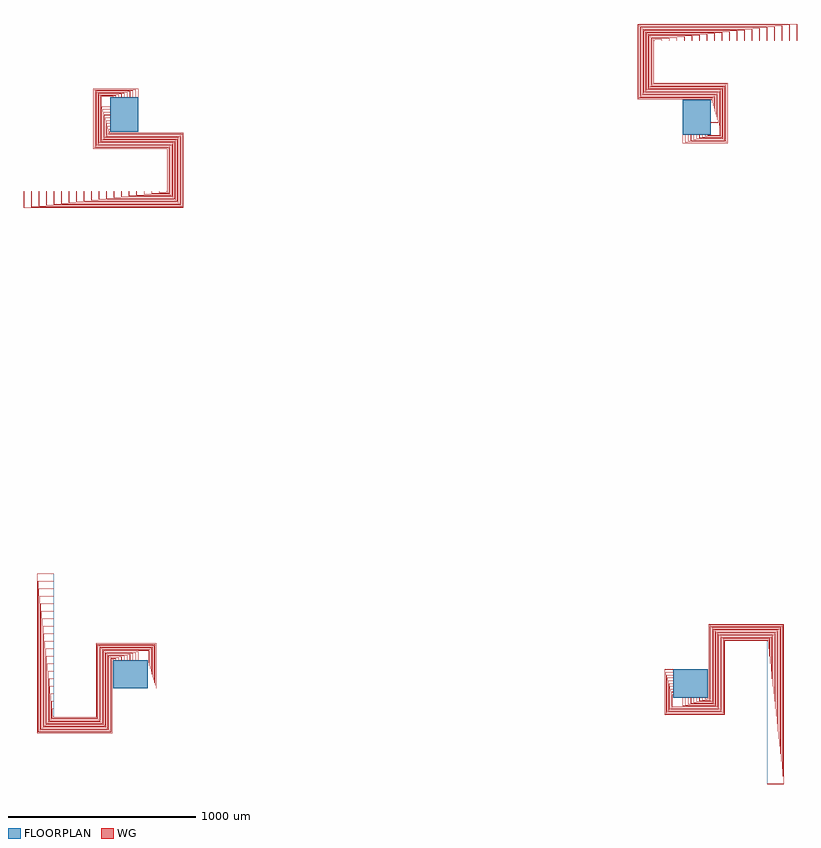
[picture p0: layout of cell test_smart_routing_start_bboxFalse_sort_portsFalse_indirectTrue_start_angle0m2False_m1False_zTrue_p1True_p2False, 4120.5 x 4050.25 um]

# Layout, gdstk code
import gdstk
lib = gdstk.Library(unit=1e-6, precision=1e-09)
def R(c, l, rs):  # rectangles x0, y0, x1, y1
    for r in rs: c.add(gdstk.rectangle(r[:2], r[2:], *l))
def P(c, l, *ps):  # polygons
    for p in ps: c.add(gdstk.Polygon(p, *l))
WG = (1, 0)
FLOORPLAN = (10, 0)

test_smart_routing_start = lib.new_cell('test_smart_routing_start_bboxFalse_sort_portsFalse_indirectTrue_start_angle0m2False_m1False_zTrue_p1True_p2False')
P(test_smart_routing_start, WG, [(2949.75,2855),(2949.75,2900),(2949.95,2900),(2949.95,2855.2),(3189.8,2855.2),(3189.8,3175.05),(2795.55,3175.05),(2795.55,3404.2),(2799.95,3404.2),(2799.95,3400),(2799.75,3400),(2799.75,3404),(2795.75,3404),(2795.75,3175.25),(3190,3175.25),(3190,2855)],
  [(2950.05,2855.3),(2950.05,2900),(2950.25,2900),(2950.25,2855.5),(3189.5,2855.5),(3189.5,3174.75),(2795.25,3174.75),(2795.25,3404.5),(2800.25,3404.5),(2800.25,3400),(2800.05,3400),(2800.05,3404.3),(2795.45,3404.3),(2795.45,3174.95),(3189.7,3174.95),(3189.7,2855.3)],
  [(2964.75,2859.5),(2964.75,2900),(2964.95,2900),(2964.95,2859.7),(3185.3,2859.7),(3185.3,3170.55),(2791.05,3170.55),(2791.05,3408.7),(2839.95,3408.7),(2839.95,3400),(2839.75,3400),(2839.75,3408.5),(2791.25,3408.5),(2791.25,3170.75),(3185.5,3170.75),(3185.5,2859.5)],
  [(2965.05,2859.8),(2965.05,2900),(2965.25,2900),(2965.25,2860),(3185,2860),(3185,3170.25),(2790.75,3170.25),(2790.75,3409),(2840.25,3409),(2840.25,3400),(2840.05,3400),(2840.05,3408.8),(2790.95,3408.8),(2790.95,3170.45),(3185.2,3170.45),(3185.2,2859.8)],
  [(2979.75,2864),(2979.75,2900),(2979.95,2900),(2979.95,2864.2),(3180.8,2864.2),(3180.8,3166.05),(2786.55,3166.05),(2786.55,3413.2),(2879.95,3413.2),(2879.95,3400),(2879.75,3400),(2879.75,3413),(2786.75,3413),(2786.75,3166.25),(3181,3166.25),(3181,2864)],
  [(2980.05,2864.3),(2980.05,2900),(2980.25,2900),(2980.25,2864.5),(3180.5,2864.5),(3180.5,3165.75),(2786.25,3165.75),(2786.25,3413.5),(2880.25,3413.5),(2880.25,3400),(2880.05,3400),(2880.05,3413.3),(2786.45,3413.3),(2786.45,3165.95),(3180.7,3165.95),(3180.7,2864.3)],
  [(2994.75,2868.5),(2994.75,2900),(2994.95,2900),(2994.95,2868.7),(3176.3,2868.7),(3176.3,3161.55),(2782.05,3161.55),(2782.05,3417.7),(2919.95,3417.7),(2919.95,3400),(2919.75,3400),(2919.75,3417.5),(2782.25,3417.5),(2782.25,3161.75),(3176.5,3161.75),(3176.5,2868.5)],
  [(2995.05,2868.8),(2995.05,2900),(2995.25,2900),(2995.25,2869),(3176,2869),(3176,3161.25),(2781.75,3161.25),(2781.75,3418),(2920.25,3418),(2920.25,3400),(2920.05,3400),(2920.05,3417.8),(2781.95,3417.8),(2781.95,3161.45),(3176.2,3161.45),(3176.2,2868.8)],
  [(3009.75,2873),(3009.75,2900),(3009.95,2900),(3009.95,2873.2),(3171.8,2873.2),(3171.8,3157.05),(2777.55,3157.05),(2777.55,3422.2),(2959.95,3422.2),(2959.95,3400),(2959.75,3400),(2959.75,3422),(2777.75,3422),(2777.75,3157.25),(3172,3157.25),(3172,2873)],
  [(3010.05,2873.3),(3010.05,2900),(3010.25,2900),(3010.25,2873.5),(3171.5,2873.5),(3171.5,3156.75),(2777.25,3156.75),(2777.25,3422.5),(2960.25,3422.5),(2960.25,3400),(2960.05,3400),(2960.05,3422.3),(2777.45,3422.3),(2777.45,3156.95),(3171.7,3156.95),(3171.7,2873.3)],
  [(3024.75,2877.5),(3024.75,2900),(3024.95,2900),(3024.95,2877.7),(3167.3,2877.7),(3167.3,3152.55),(2773.05,3152.55),(2773.05,3426.7),(2999.95,3426.7),(2999.95,3400),(2999.75,3400),(2999.75,3426.5),(2773.25,3426.5),(2773.25,3152.75),(3167.5,3152.75),(3167.5,2877.5)],
  [(3025.05,2877.8),(3025.05,2900),(3025.25,2900),(3025.25,2878),(3167,2878),(3167,3152.25),(2772.75,3152.25),(2772.75,3427),(3000.25,3427),(3000.25,3400),(3000.05,3400),(3000.05,3426.8),(2772.95,3426.8),(2772.95,3152.45),(3167.2,3152.45),(3167.2,2877.8)],
  [(3039.75,2882),(3039.75,2900),(3039.95,2900),(3039.95,2882.2),(3162.8,2882.2),(3162.8,3148.05),(2768.55,3148.05),(2768.55,3431.2),(3039.95,3431.2),(3039.95,3400),(3039.75,3400),(3039.75,3431),(2768.75,3431),(2768.75,3148.25),(3163,3148.25),(3163,2882)],
  [(3040.05,2882.3),(3040.05,2900),(3040.25,2900),(3040.25,2882.5),(3162.5,2882.5),(3162.5,3147.75),(2768.25,3147.75),(2768.25,3431.5),(3040.25,3431.5),(3040.25,3400),(3040.05,3400),(3040.05,3431.3),(2768.45,3431.3),(2768.45,3147.95),(3162.7,3147.95),(3162.7,2882.3)],
  [(3054.75,2886.5),(3054.75,2900),(3054.95,2900),(3054.95,2886.7),(3158.3,2886.7),(3158.3,3143.55),(2764.05,3143.55),(2764.05,3435.7),(3079.95,3435.7),(3079.95,3400),(3079.75,3400),(3079.75,3435.5),(2764.25,3435.5),(2764.25,3143.75),(3158.5,3143.75),(3158.5,2886.5)],
  [(3055.05,2886.8),(3055.05,2900),(3055.25,2900),(3055.25,2887),(3158,2887),(3158,3143.25),(2763.75,3143.25),(2763.75,3436),(3080.25,3436),(3080.25,3400),(3080.05,3400),(3080.05,3435.8),(2763.95,3435.8),(2763.95,3143.45),(3158.2,3143.45),(3158.2,2886.8)],
  [(3069.75,2891),(3069.75,2900),(3069.95,2900),(3069.95,2891.2),(3153.8,2891.2),(3153.8,3139.05),(2759.55,3139.05),(2759.55,3440.2),(3119.95,3440.2),(3119.95,3400),(3119.75,3400),(3119.75,3440),(2759.75,3440),(2759.75,3139.25),(3154,3139.25),(3154,2891)],
  [(3070.05,2891.3),(3070.05,2900),(3070.25,2900),(3070.25,2891.5),(3153.5,2891.5),(3153.5,3138.75),(2759.25,3138.75),(2759.25,3440.5),(3120.25,3440.5),(3120.25,3400),(3120.05,3400),(3120.05,3440.3),(2759.45,3440.3),(2759.45,3138.95),(3153.7,3138.95),(3153.7,2891.3)],
  [(3084.75,2895.5),(3084.75,2900),(3084.95,2900),(3084.95,2895.7),(3149.3,2895.7),(3149.3,3134.55),(2755.05,3134.55),(2755.05,3444.7),(3159.95,3444.7),(3159.95,3400),(3159.75,3400),(3159.75,3444.5),(2755.25,3444.5),(2755.25,3134.75),(3149.5,3134.75),(3149.5,2895.5)],
  [(3085.05,2895.8),(3085.05,2900),(3085.25,2900),(3085.25,2896),(3149,2896),(3149,3134.25),(2754.75,3134.25),(2754.75,3445),(3160.25,3445),(3160.25,3400),(3160.05,3400),(3160.05,3444.8),(2754.95,3444.8),(2754.95,3134.45),(3149.2,3134.45),(3149.2,2895.8)],
  [(3100,2949.75),(3100,2949.95),(3144.8,2949.95),(3144.8,3130.05),(2750.55,3130.05),(2750.55,3449.2),(3199.95,3449.2),(3199.95,3400),(3199.75,3400),(3199.75,3449),(2750.75,3449),(2750.75,3130.25),(3145,3130.25),(3145,2949.75)],
  [(3100,2950.05),(3100,2950.25),(3144.5,2950.25),(3144.5,3129.75),(2750.25,3129.75),(2750.25,3449.5),(3200.25,3449.5),(3200.25,3400),(3200.05,3400),(3200.05,3449.3),(2750.45,3449.3),(2750.45,3129.95),(3144.7,3129.95),(3144.7,2950.05)],
  [(3100,2964.75),(3100,2964.95),(3140.3,2964.95),(3140.3,3125.55),(2746.05,3125.55),(2746.05,3453.7),(3239.95,3453.7),(3239.95,3400),(3239.75,3400),(3239.75,3453.5),(2746.25,3453.5),(2746.25,3125.75),(3140.5,3125.75),(3140.5,2964.75)],
  [(3100,2965.05),(3100,2965.25),(3140,2965.25),(3140,3125.25),(2745.75,3125.25),(2745.75,3454),(3240.25,3454),(3240.25,3400),(3240.05,3400),(3240.05,3453.8),(2745.95,3453.8),(2745.95,3125.45),(3140.2,3125.45),(3140.2,2965.05)],
  [(3100,2979.75),(3100,2979.95),(3135.8,2979.95),(3135.8,3121.05),(2741.55,3121.05),(2741.55,3458.2),(3279.95,3458.2),(3279.95,3400),(3279.75,3400),(3279.75,3458),(2741.75,3458),(2741.75,3121.25),(3136,3121.25),(3136,2979.75)],
  [(3100,2980.05),(3100,2980.25),(3135.5,2980.25),(3135.5,3120.75),(2741.25,3120.75),(2741.25,3458.5),(3280.25,3458.5),(3280.25,3400),(3280.05,3400),(3280.05,3458.3),(2741.45,3458.3),(2741.45,3120.95),(3135.7,3120.95),(3135.7,2980.05)],
  [(3100,2994.75),(3100,2994.95),(3131.3,2994.95),(3131.3,3116.55),(2737.05,3116.55),(2737.05,3462.7),(3319.95,3462.7),(3319.95,3400),(3319.75,3400),(3319.75,3462.5),(2737.25,3462.5),(2737.25,3116.75),(3131.5,3116.75),(3131.5,2994.75)],
  [(3100,2995.05),(3100,2995.25),(3131,2995.25),(3131,3116.25),(2736.75,3116.25),(2736.75,3463),(3320.25,3463),(3320.25,3400),(3320.05,3400),(3320.05,3462.8),(2736.95,3462.8),(2736.95,3116.45),(3131.2,3116.45),(3131.2,2995.05)],
  [(3100,3009.75),(3100,3009.95),(3126.8,3009.95),(3126.8,3112.05),(2732.55,3112.05),(2732.55,3467.2),(3359.95,3467.2),(3359.95,3400),(3359.75,3400),(3359.75,3467),(2732.75,3467),(2732.75,3112.25),(3127,3112.25),(3127,3009.75)],
  [(3100,3010.05),(3100,3010.25),(3126.5,3010.25),(3126.5,3111.75),(2732.25,3111.75),(2732.25,3467.5),(3360.25,3467.5),(3360.25,3400),(3360.05,3400),(3360.05,3467.3),(2732.45,3467.3),(2732.45,3111.95),(3126.7,3111.95),(3126.7,3010.05)],
  [(3100,3024.75),(3100,3024.95),(3122.3,3024.95),(3122.3,3107.55),(2728.05,3107.55),(2728.05,3471.7),(3399.95,3471.7),(3399.95,3400),(3399.75,3400),(3399.75,3471.5),(2728.25,3471.5),(2728.25,3107.75),(3122.5,3107.75),(3122.5,3024.75)],
  [(3100,3025.05),(3100,3025.25),(3122,3025.25),(3122,3107.25),(2727.75,3107.25),(2727.75,3472),(3400.25,3472),(3400.25,3400),(3400.05,3400),(3400.05,3471.8),(2727.95,3471.8),(2727.95,3107.45),(3122.2,3107.45),(3122.2,3025.05)],
  [(3100,3039.75),(3100,3039.95),(3117.8,3039.95),(3117.8,3103.05),(2723.55,3103.05),(2723.55,3476.2),(3439.95,3476.2),(3439.95,3400),(3439.75,3400),(3439.75,3476),(2723.75,3476),(2723.75,3103.25),(3118,3103.25),(3118,3039.75)],
  [(3100,3040.05),(3100,3040.25),(3117.5,3040.25),(3117.5,3102.75),(2723.25,3102.75),(2723.25,3476.5),(3440.25,3476.5),(3440.25,3400),(3440.05,3400),(3440.05,3476.3),(2723.45,3476.3),(2723.45,3102.95),(3117.7,3102.95),(3117.7,3040.05)],
  [(3100,3054.75),(3100,3054.95),(3113.3,3054.95),(3113.3,3098.55),(2719.05,3098.55),(2719.05,3480.7),(3479.95,3480.7),(3479.95,3400),(3479.75,3400),(3479.75,3480.5),(2719.25,3480.5),(2719.25,3098.75),(3113.5,3098.75),(3113.5,3054.75)],
  [(3100,3055.05),(3100,3055.25),(3113,3055.25),(3113,3098.25),(2718.75,3098.25),(2718.75,3481),(3480.25,3481),(3480.25,3400),(3480.05,3400),(3480.05,3480.8),(2718.95,3480.8),(2718.95,3098.45),(3113.2,3098.45),(3113.2,3055.05)],
  [(3100,3069.75),(3100,3069.95),(3108.8,3069.95),(3108.8,3094.05),(2714.55,3094.05),(2714.55,3485.2),(3519.95,3485.2),(3519.95,3400),(3519.75,3400),(3519.75,3485),(2714.75,3485),(2714.75,3094.25),(3109,3094.25),(3109,3069.75)],
  [(3100,3070.05),(3100,3070.25),(3108.5,3070.25),(3108.5,3093.75),(2714.25,3093.75),(2714.25,3485.5),(3520.25,3485.5),(3520.25,3400),(3520.05,3400),(3520.05,3485.3),(2714.45,3485.3),(2714.45,3093.95),(3108.7,3093.95),(3108.7,3070.05)],
  [(3100,3084.75),(3100,3084.95),(3104.3,3084.95),(3104.3,3089.55),(2710.05,3089.55),(2710.05,3489.7),(3559.95,3489.7),(3559.95,3400),(3559.75,3400),(3559.75,3489.5),(2710.25,3489.5),(2710.25,3089.75),(3104.5,3089.75),(3104.5,3084.75)],
  [(3100,3085.05),(3100,3085.25),(3104,3085.25),(3104,3089.25),(2709.75,3089.25),(2709.75,3490),(3560.25,3490),(3560.25,3400),(3560.05,3400),(3560.05,3489.8),(2709.95,3489.8),(2709.95,3089.45),(3104.2,3089.45),(3104.2,3085.05)],
  [(199.75,2595.5),(199.75,2600),(199.95,2600),(199.95,2595.7),(204.55,2595.7),(204.55,2825.05),(-189.7,2825.05),(-189.7,3144.7),(49.95,3144.7),(49.95,3100),(49.75,3100),(49.75,3144.5),(-189.5,3144.5),(-189.5,2825.25),(204.75,2825.25),(204.75,2595.5)],
  [(200.05,2595.8),(200.05,2600),(200.25,2600),(200.25,2596),(204.25,2596),(204.25,2824.75),(-190,2824.75),(-190,3145),(50.25,3145),(50.25,3100),(50.05,3100),(50.05,3144.8),(-189.8,3144.8),(-189.8,2824.95),(204.45,2824.95),(204.45,2595.8)],
  [(159.75,2591),(159.75,2600),(159.95,2600),(159.95,2591.2),(209.05,2591.2),(209.05,2829.55),(-185.2,2829.55),(-185.2,3140.2),(34.95,3140.2),(34.95,3100),(34.75,3100),(34.75,3140),(-185,3140),(-185,2829.75),(209.25,2829.75),(209.25,2591)],
  [(160.05,2591.3),(160.05,2600),(160.25,2600),(160.25,2591.5),(208.75,2591.5),(208.75,2829.25),(-185.5,2829.25),(-185.5,3140.5),(35.25,3140.5),(35.25,3100),(35.05,3100),(35.05,3140.3),(-185.3,3140.3),(-185.3,2829.45),(208.95,2829.45),(208.95,2591.3)],
  [(119.75,2586.5),(119.75,2600),(119.95,2600),(119.95,2586.7),(213.55,2586.7),(213.55,2834.05),(-180.7,2834.05),(-180.7,3135.7),(19.95,3135.7),(19.95,3100),(19.75,3100),(19.75,3135.5),(-180.5,3135.5),(-180.5,2834.25),(213.75,2834.25),(213.75,2586.5)],
  [(120.05,2586.8),(120.05,2600),(120.25,2600),(120.25,2587),(213.25,2587),(213.25,2833.75),(-181,2833.75),(-181,3136),(20.25,3136),(20.25,3100),(20.05,3100),(20.05,3135.8),(-180.8,3135.8),(-180.8,2833.95),(213.45,2833.95),(213.45,2586.8)],
  [(79.75,2582),(79.75,2600),(79.95,2600),(79.95,2582.2),(218.05,2582.2),(218.05,2838.55),(-176.2,2838.55),(-176.2,3131.2),(4.95,3131.2),(4.95,3100),(4.75,3100),(4.75,3131),(-176,3131),(-176,2838.75),(218.25,2838.75),(218.25,2582)],
  [(80.05,2582.3),(80.05,2600),(80.25,2600),(80.25,2582.5),(217.75,2582.5),(217.75,2838.25),(-176.5,2838.25),(-176.5,3131.5),(5.25,3131.5),(5.25,3100),(5.05,3100),(5.05,3131.3),(-176.3,3131.3),(-176.3,2838.45),(217.95,2838.45),(217.95,2582.3)],
  [(39.75,2577.5),(39.75,2600),(39.95,2600),(39.95,2577.7),(222.55,2577.7),(222.55,2843.05),(-171.7,2843.05),(-171.7,3126.7),(-10.05,3126.7),(-10.05,3100),(-10.25,3100),(-10.25,3126.5),(-171.5,3126.5),(-171.5,2843.25),(222.75,2843.25),(222.75,2577.5)],
  [(40.05,2577.8),(40.05,2600),(40.25,2600),(40.25,2578),(222.25,2578),(222.25,2842.75),(-172,2842.75),(-172,3127),(-9.75,3127),(-9.75,3100),(-9.95,3100),(-9.95,3126.8),(-171.8,3126.8),(-171.8,2842.95),(222.45,2842.95),(222.45,2577.8)],
  [(-0.25,2573),(-0.25,2600),(-0.05,2600),(-0.05,2573.2),(227.05,2573.2),(227.05,2847.55),(-167.2,2847.55),(-167.2,3122.2),(-25.05,3122.2),(-25.05,3100),(-25.25,3100),(-25.25,3122),(-167,3122),(-167,2847.75),(227.25,2847.75),(227.25,2573)],
  [(0.05,2573.3),(0.05,2600),(0.25,2600),(0.25,2573.5),(226.75,2573.5),(226.75,2847.25),(-167.5,2847.25),(-167.5,3122.5),(-24.75,3122.5),(-24.75,3100),(-24.95,3100),(-24.95,3122.3),(-167.3,3122.3),(-167.3,2847.45),(226.95,2847.45),(226.95,2573.3)],
  [(-40.25,2568.5),(-40.25,2600),(-40.05,2600),(-40.05,2568.7),(231.55,2568.7),(231.55,2852.05),(-162.7,2852.05),(-162.7,3117.7),(-40.05,3117.7),(-40.05,3100),(-40.25,3100),(-40.25,3117.5),(-162.5,3117.5),(-162.5,2852.25),(231.75,2852.25),(231.75,2568.5)],
  [(-39.95,2568.8),(-39.95,2600),(-39.75,2600),(-39.75,2569),(231.25,2569),(231.25,2851.75),(-163,2851.75),(-163,3118),(-39.75,3118),(-39.75,3100),(-39.95,3100),(-39.95,3117.8),(-162.8,3117.8),(-162.8,2851.95),(231.45,2851.95),(231.45,2568.8)],
  [(-80.25,2564),(-80.25,2600),(-80.05,2600),(-80.05,2564.2),(236.05,2564.2),(236.05,2856.55),(-158.2,2856.55),(-158.2,3113.2),(-55.05,3113.2),(-55.05,3100),(-55.25,3100),(-55.25,3113),(-158,3113),(-158,2856.75),(236.25,2856.75),(236.25,2564)],
  [(-79.95,2564.3),(-79.95,2600),(-79.75,2600),(-79.75,2564.5),(235.75,2564.5),(235.75,2856.25),(-158.5,2856.25),(-158.5,3113.5),(-54.75,3113.5),(-54.75,3100),(-54.95,3100),(-54.95,3113.3),(-158.3,3113.3),(-158.3,2856.45),(235.95,2856.45),(235.95,2564.3)],
  [(-120.25,2559.5),(-120.25,2600),(-120.05,2600),(-120.05,2559.7),(240.55,2559.7),(240.55,2861.05),(-153.7,2861.05),(-153.7,3108.7),(-70.05,3108.7),(-70.05,3100),(-70.25,3100),(-70.25,3108.5),(-153.5,3108.5),(-153.5,2861.25),(240.75,2861.25),(240.75,2559.5)],
  [(-119.95,2559.8),(-119.95,2600),(-119.75,2600),(-119.75,2560),(240.25,2560),(240.25,2860.75),(-154,2860.75),(-154,3109),(-69.75,3109),(-69.75,3100),(-69.95,3100),(-69.95,3108.8),(-153.8,3108.8),(-153.8,2860.95),(240.45,2860.95),(240.45,2559.8)],
  [(-160.25,2555),(-160.25,2600),(-160.05,2600),(-160.05,2555.2),(245.05,2555.2),(245.05,2865.55),(-149.2,2865.55),(-149.2,3104.2),(-85.05,3104.2),(-85.05,3100),(-85.25,3100),(-85.25,3104),(-149,3104),(-149,2865.75),(245.25,2865.75),(245.25,2555)],
  [(-159.95,2555.3),(-159.95,2600),(-159.75,2600),(-159.75,2555.5),(244.75,2555.5),(244.75,2865.25),(-149.5,2865.25),(-149.5,3104.5),(-84.75,3104.5),(-84.75,3100),(-84.95,3100),(-84.95,3104.3),(-149.3,3104.3),(-149.3,2865.45),(244.95,2865.45),(244.95,2555.3)],
  [(-200.25,2550.5),(-200.25,2600),(-200.05,2600),(-200.05,2550.7),(249.55,2550.7),(249.55,2870.05),(-144.7,2870.05),(-144.7,3049.95),(-100,3049.95),(-100,3049.75),(-144.5,3049.75),(-144.5,2870.25),(249.75,2870.25),(249.75,2550.5)],
  [(-199.95,2550.8),(-199.95,2600),(-199.75,2600),(-199.75,2551),(249.25,2551),(249.25,2869.75),(-145,2869.75),(-145,3050.25),(-100,3050.25),(-100,3050.05),(-144.8,3050.05),(-144.8,2869.95),(249.45,2869.95),(249.45,2550.8)],
  [(-240.25,2546),(-240.25,2600),(-240.05,2600),(-240.05,2546.2),(254.05,2546.2),(254.05,2874.55),(-140.2,2874.55),(-140.2,3034.95),(-100,3034.95),(-100,3034.75),(-140,3034.75),(-140,2874.75),(254.25,2874.75),(254.25,2546)],
  [(-239.95,2546.3),(-239.95,2600),(-239.75,2600),(-239.75,2546.5),(253.75,2546.5),(253.75,2874.25),(-140.5,2874.25),(-140.5,3035.25),(-100,3035.25),(-100,3035.05),(-140.3,3035.05),(-140.3,2874.45),(253.95,2874.45),(253.95,2546.3)],
  [(-280.25,2541.5),(-280.25,2600),(-280.05,2600),(-280.05,2541.7),(258.55,2541.7),(258.55,2879.05),(-135.7,2879.05),(-135.7,3019.95),(-100,3019.95),(-100,3019.75),(-135.5,3019.75),(-135.5,2879.25),(258.75,2879.25),(258.75,2541.5)],
  [(-279.95,2541.8),(-279.95,2600),(-279.75,2600),(-279.75,2542),(258.25,2542),(258.25,2878.75),(-136,2878.75),(-136,3020.25),(-100,3020.25),(-100,3020.05),(-135.8,3020.05),(-135.8,2878.95),(258.45,2878.95),(258.45,2541.8)],
  [(-320.25,2537),(-320.25,2600),(-320.05,2600),(-320.05,2537.2),(263.05,2537.2),(263.05,2883.55),(-131.2,2883.55),(-131.2,3004.95),(-100,3004.95),(-100,3004.75),(-131,3004.75),(-131,2883.75),(263.25,2883.75),(263.25,2537)],
  [(-319.95,2537.3),(-319.95,2600),(-319.75,2600),(-319.75,2537.5),(262.75,2537.5),(262.75,2883.25),(-131.5,2883.25),(-131.5,3005.25),(-100,3005.25),(-100,3005.05),(-131.3,3005.05),(-131.3,2883.45),(262.95,2883.45),(262.95,2537.3)],
  [(-360.25,2532.5),(-360.25,2600),(-360.05,2600),(-360.05,2532.7),(267.55,2532.7),(267.55,2888.05),(-126.7,2888.05),(-126.7,2989.95),(-100,2989.95),(-100,2989.75),(-126.5,2989.75),(-126.5,2888.25),(267.75,2888.25),(267.75,2532.5)],
  [(-359.95,2532.8),(-359.95,2600),(-359.75,2600),(-359.75,2533),(267.25,2533),(267.25,2887.75),(-127,2887.75),(-127,2990.25),(-100,2990.25),(-100,2990.05),(-126.8,2990.05),(-126.8,2887.95),(267.45,2887.95),(267.45,2532.8)],
  [(-400.25,2528),(-400.25,2600),(-400.05,2600),(-400.05,2528.2),(272.05,2528.2),(272.05,2892.55),(-122.2,2892.55),(-122.2,2974.95),(-100,2974.95),(-100,2974.75),(-122,2974.75),(-122,2892.75),(272.25,2892.75),(272.25,2528)],
  [(-399.95,2528.3),(-399.95,2600),(-399.75,2600),(-399.75,2528.5),(271.75,2528.5),(271.75,2892.25),(-122.5,2892.25),(-122.5,2975.25),(-100,2975.25),(-100,2975.05),(-122.3,2975.05),(-122.3,2892.45),(271.95,2892.45),(271.95,2528.3)],
  [(-440.25,2523.5),(-440.25,2600),(-440.05,2600),(-440.05,2523.7),(276.55,2523.7),(276.55,2897.05),(-117.7,2897.05),(-117.7,2959.95),(-100,2959.95),(-100,2959.75),(-117.5,2959.75),(-117.5,2897.25),(276.75,2897.25),(276.75,2523.5)],
  [(-439.95,2523.8),(-439.95,2600),(-439.75,2600),(-439.75,2524),(276.25,2524),(276.25,2896.75),(-118,2896.75),(-118,2960.25),(-100,2960.25),(-100,2960.05),(-117.8,2960.05),(-117.8,2896.95),(276.45,2896.95),(276.45,2523.8)],
  [(-480.25,2519),(-480.25,2600),(-480.05,2600),(-480.05,2519.2),(281.05,2519.2),(281.05,2901.55),(-113.2,2901.55),(-113.2,2944.95),(-100,2944.95),(-100,2944.75),(-113,2944.75),(-113,2901.75),(281.25,2901.75),(281.25,2519)],
  [(-479.95,2519.3),(-479.95,2600),(-479.75,2600),(-479.75,2519.5),(280.75,2519.5),(280.75,2901.25),(-113.5,2901.25),(-113.5,2945.25),(-100,2945.25),(-100,2945.05),(-113.3,2945.05),(-113.3,2901.45),(280.95,2901.45),(280.95,2519.3)],
  [(-520.25,2514.5),(-520.25,2600),(-520.05,2600),(-520.05,2514.7),(285.55,2514.7),(285.55,2906.05),(-108.7,2906.05),(-108.7,2929.95),(-100,2929.95),(-100,2929.75),(-108.5,2929.75),(-108.5,2906.25),(285.75,2906.25),(285.75,2514.5)],
  [(-519.95,2514.8),(-519.95,2600),(-519.75,2600),(-519.75,2515),(285.25,2515),(285.25,2905.75),(-109,2905.75),(-109,2930.25),(-100,2930.25),(-100,2930.05),(-108.8,2930.05),(-108.8,2905.95),(285.45,2905.95),(285.45,2514.8)],
  [(-560.25,2510),(-560.25,2600),(-560.05,2600),(-560.05,2510.2),(290.05,2510.2),(290.05,2910.55),(-104.2,2910.55),(-104.2,2914.95),(-100,2914.95),(-100,2914.75),(-104,2914.75),(-104,2910.75),(290.25,2910.75),(290.25,2510)],
  [(-559.95,2510.3),(-559.95,2600),(-559.75,2600),(-559.75,2510.5),(289.75,2510.5),(289.75,2910.25),(-104.5,2910.25),(-104.5,2915.25),(-100,2915.25),(-100,2915.05),(-104.3,2915.05),(-104.3,2910.45),(289.95,2910.45),(289.95,2510.3)],
  [(-404.5,-204.75),(-404.5,-199.75),(-400,-199.75),(-400,-199.95),(-404.3,-199.95),(-404.3,-204.55),(-174.95,-204.55),(-174.95,189.7),(144.7,189.7),(144.7,-49.95),(100,-49.95),(100,-49.75),(144.5,-49.75),(144.5,189.5),(-174.75,189.5),(-174.75,-204.75)],
  [(-404.2,-204.45),(-404.2,-200.05),(-400,-200.05),(-400,-200.25),(-404,-200.25),(-404,-204.25),(-175.25,-204.25),(-175.25,190),(145,190),(145,-50.25),(100,-50.25),(100,-50.05),(144.8,-50.05),(144.8,189.8),(-175.05,189.8),(-175.05,-204.45)],
  [(-409,-209.25),(-409,-159.75),(-400,-159.75),(-400,-159.95),(-408.8,-159.95),(-408.8,-209.05),(-170.45,-209.05),(-170.45,185.2),(140.2,185.2),(140.2,-34.95),(100,-34.95),(100,-34.75),(140,-34.75),(140,185),(-170.25,185),(-170.25,-209.25)],
  [(-408.7,-208.95),(-408.7,-160.05),(-400,-160.05),(-400,-160.25),(-408.5,-160.25),(-408.5,-208.75),(-170.75,-208.75),(-170.75,185.5),(140.5,185.5),(140.5,-35.25),(100,-35.25),(100,-35.05),(140.3,-35.05),(140.3,185.3),(-170.55,185.3),(-170.55,-208.95)],
  [(-413.5,-213.75),(-413.5,-119.75),(-400,-119.75),(-400,-119.95),(-413.3,-119.95),(-413.3,-213.55),(-165.95,-213.55),(-165.95,180.7),(135.7,180.7),(135.7,-19.95),(100,-19.95),(100,-19.75),(135.5,-19.75),(135.5,180.5),(-165.75,180.5),(-165.75,-213.75)],
  [(-413.2,-213.45),(-413.2,-120.05),(-400,-120.05),(-400,-120.25),(-413,-120.25),(-413,-213.25),(-166.25,-213.25),(-166.25,181),(136,181),(136,-20.25),(100,-20.25),(100,-20.05),(135.8,-20.05),(135.8,180.8),(-166.05,180.8),(-166.05,-213.45)],
  [(-418,-218.25),(-418,-79.75),(-400,-79.75),(-400,-79.95),(-417.8,-79.95),(-417.8,-218.05),(-161.45,-218.05),(-161.45,176.2),(131.2,176.2),(131.2,-4.95),(100,-4.95),(100,-4.75),(131,-4.75),(131,176),(-161.25,176),(-161.25,-218.25)],
  [(-417.7,-217.95),(-417.7,-80.05),(-400,-80.05),(-400,-80.25),(-417.5,-80.25),(-417.5,-217.75),(-161.75,-217.75),(-161.75,176.5),(131.5,176.5),(131.5,-5.25),(100,-5.25),(100,-5.05),(131.3,-5.05),(131.3,176.3),(-161.55,176.3),(-161.55,-217.95)],
  [(-422.5,-222.75),(-422.5,-39.75),(-400,-39.75),(-400,-39.95),(-422.3,-39.95),(-422.3,-222.55),(-156.95,-222.55),(-156.95,171.7),(126.7,171.7),(126.7,10.05),(100,10.05),(100,10.25),(126.5,10.25),(126.5,171.5),(-156.75,171.5),(-156.75,-222.75)],
  [(-422.2,-222.45),(-422.2,-40.05),(-400,-40.05),(-400,-40.25),(-422,-40.25),(-422,-222.25),(-157.25,-222.25),(-157.25,172),(127,172),(127,9.75),(100,9.75),(100,9.95),(126.8,9.95),(126.8,171.8),(-157.05,171.8),(-157.05,-222.45)],
  [(-427,-227.25),(-427,0.25),(-400,0.25),(-400,0.05),(-426.8,0.05),(-426.8,-227.05),(-152.45,-227.05),(-152.45,167.2),(122.2,167.2),(122.2,25.05),(100,25.05),(100,25.25),(122,25.25),(122,167),(-152.25,167),(-152.25,-227.25)],
  [(-426.7,-226.95),(-426.7,-0.05),(-400,-0.05),(-400,-0.25),(-426.5,-0.25),(-426.5,-226.75),(-152.75,-226.75),(-152.75,167.5),(122.5,167.5),(122.5,24.75),(100,24.75),(100,24.95),(122.3,24.95),(122.3,167.3),(-152.55,167.3),(-152.55,-226.95)],
  [(-431.5,-231.75),(-431.5,40.25),(-400,40.25),(-400,40.05),(-431.3,40.05),(-431.3,-231.55),(-147.95,-231.55),(-147.95,162.7),(117.7,162.7),(117.7,40.05),(100,40.05),(100,40.25),(117.5,40.25),(117.5,162.5),(-147.75,162.5),(-147.75,-231.75)],
  [(-431.2,-231.45),(-431.2,39.95),(-400,39.95),(-400,39.75),(-431,39.75),(-431,-231.25),(-148.25,-231.25),(-148.25,163),(118,163),(118,39.75),(100,39.75),(100,39.95),(117.8,39.95),(117.8,162.8),(-148.05,162.8),(-148.05,-231.45)],
  [(-436,-236.25),(-436,80.25),(-400,80.25),(-400,80.05),(-435.8,80.05),(-435.8,-236.05),(-143.45,-236.05),(-143.45,158.2),(113.2,158.2),(113.2,55.05),(100,55.05),(100,55.25),(113,55.25),(113,158),(-143.25,158),(-143.25,-236.25)],
  [(-435.7,-235.95),(-435.7,79.95),(-400,79.95),(-400,79.75),(-435.5,79.75),(-435.5,-235.75),(-143.75,-235.75),(-143.75,158.5),(113.5,158.5),(113.5,54.75),(100,54.75),(100,54.95),(113.3,54.95),(113.3,158.3),(-143.55,158.3),(-143.55,-235.95)],
  [(-440.5,-240.75),(-440.5,120.25),(-400,120.25),(-400,120.05),(-440.3,120.05),(-440.3,-240.55),(-138.95,-240.55),(-138.95,153.7),(108.7,153.7),(108.7,70.05),(100,70.05),(100,70.25),(108.5,70.25),(108.5,153.5),(-138.75,153.5),(-138.75,-240.75)],
  [(-440.2,-240.45),(-440.2,119.95),(-400,119.95),(-400,119.75),(-440,119.75),(-440,-240.25),(-139.25,-240.25),(-139.25,154),(109,154),(109,69.75),(100,69.75),(100,69.95),(108.8,69.95),(108.8,153.8),(-139.05,153.8),(-139.05,-240.45)],
  [(-444.7,-244.95),(-444.7,159.95),(-400,159.95),(-400,159.75),(-444.5,159.75),(-444.5,-244.75),(-134.75,-244.75),(-134.75,149.5),(104.5,149.5),(104.5,84.75),(100,84.75),(100,84.95),(104.3,84.95),(104.3,149.3),(-134.55,149.3),(-134.55,-244.95)],
  [(-445,-245.25),(-445,160.25),(-400,160.25),(-400,160.05),(-444.8,160.05),(-444.8,-245.05),(-134.45,-245.05),(-134.45,149.2),(104.2,149.2),(104.2,85.05),(100,85.05),(100,85.25),(104,85.25),(104,149),(-134.25,149),(-134.25,-245.25)],
  [(-449.2,-249.45),(-449.2,199.95),(-400,199.95),(-400,199.75),(-449,199.75),(-449,-249.25),(-130.25,-249.25),(-130.25,145),(50.25,145),(50.25,100),(50.05,100),(50.05,144.8),(-130.05,144.8),(-130.05,-249.45)],
  [(-449.5,-249.75),(-449.5,200.25),(-400,200.25),(-400,200.05),(-449.3,200.05),(-449.3,-249.55),(-129.95,-249.55),(-129.95,144.7),(49.95,144.7),(49.95,100),(49.75,100),(49.75,144.5),(-129.75,144.5),(-129.75,-249.75)],
  [(-453.7,-253.95),(-453.7,239.95),(-400,239.95),(-400,239.75),(-453.5,239.75),(-453.5,-253.75),(-125.75,-253.75),(-125.75,140.5),(35.25,140.5),(35.25,100),(35.05,100),(35.05,140.3),(-125.55,140.3),(-125.55,-253.95)],
  [(-454,-254.25),(-454,240.25),(-400,240.25),(-400,240.05),(-453.8,240.05),(-453.8,-254.05),(-125.45,-254.05),(-125.45,140.2),(34.95,140.2),(34.95,100),(34.75,100),(34.75,140),(-125.25,140),(-125.25,-254.25)],
  [(-458.2,-258.45),(-458.2,279.95),(-400,279.95),(-400,279.75),(-458,279.75),(-458,-258.25),(-121.25,-258.25),(-121.25,136),(20.25,136),(20.25,100),(20.05,100),(20.05,135.8),(-121.05,135.8),(-121.05,-258.45)],
  [(-458.5,-258.75),(-458.5,280.25),(-400,280.25),(-400,280.05),(-458.3,280.05),(-458.3,-258.55),(-120.95,-258.55),(-120.95,135.7),(19.95,135.7),(19.95,100),(19.75,100),(19.75,135.5),(-120.75,135.5),(-120.75,-258.75)],
  [(-462.7,-262.95),(-462.7,319.95),(-400,319.95),(-400,319.75),(-462.5,319.75),(-462.5,-262.75),(-116.75,-262.75),(-116.75,131.5),(5.25,131.5),(5.25,100),(5.05,100),(5.05,131.3),(-116.55,131.3),(-116.55,-262.95)],
  [(-463,-263.25),(-463,320.25),(-400,320.25),(-400,320.05),(-462.8,320.05),(-462.8,-263.05),(-116.45,-263.05),(-116.45,131.2),(4.95,131.2),(4.95,100),(4.75,100),(4.75,131),(-116.25,131),(-116.25,-263.25)],
  [(-467.2,-267.45),(-467.2,359.95),(-400,359.95),(-400,359.75),(-467,359.75),(-467,-267.25),(-112.25,-267.25),(-112.25,127),(-9.75,127),(-9.75,100),(-9.95,100),(-9.95,126.8),(-112.05,126.8),(-112.05,-267.45)],
  [(-467.5,-267.75),(-467.5,360.25),(-400,360.25),(-400,360.05),(-467.3,360.05),(-467.3,-267.55),(-111.95,-267.55),(-111.95,126.7),(-10.05,126.7),(-10.05,100),(-10.25,100),(-10.25,126.5),(-111.75,126.5),(-111.75,-267.75)],
  [(-471.7,-271.95),(-471.7,399.95),(-400,399.95),(-400,399.75),(-471.5,399.75),(-471.5,-271.75),(-107.75,-271.75),(-107.75,122.5),(-24.75,122.5),(-24.75,100),(-24.95,100),(-24.95,122.3),(-107.55,122.3),(-107.55,-271.95)],
  [(-472,-272.25),(-472,400.25),(-400,400.25),(-400,400.05),(-471.8,400.05),(-471.8,-272.05),(-107.45,-272.05),(-107.45,122.2),(-25.05,122.2),(-25.05,100),(-25.25,100),(-25.25,122),(-107.25,122),(-107.25,-272.25)],
  [(-476.2,-276.45),(-476.2,439.95),(-400,439.95),(-400,439.75),(-476,439.75),(-476,-276.25),(-103.25,-276.25),(-103.25,118),(-39.75,118),(-39.75,100),(-39.95,100),(-39.95,117.8),(-103.05,117.8),(-103.05,-276.45)],
  [(-476.5,-276.75),(-476.5,440.25),(-400,440.25),(-400,440.05),(-476.3,440.05),(-476.3,-276.55),(-102.95,-276.55),(-102.95,117.7),(-40.05,117.7),(-40.05,100),(-40.25,100),(-40.25,117.5),(-102.75,117.5),(-102.75,-276.75)],
  [(-480.7,-280.95),(-480.7,479.95),(-400,479.95),(-400,479.75),(-480.5,479.75),(-480.5,-280.75),(-98.75,-280.75),(-98.75,113.5),(-54.75,113.5),(-54.75,100),(-54.95,100),(-54.95,113.3),(-98.55,113.3),(-98.55,-280.95)],
  [(-481,-281.25),(-481,480.25),(-400,480.25),(-400,480.05),(-480.8,480.05),(-480.8,-281.05),(-98.45,-281.05),(-98.45,113.2),(-55.05,113.2),(-55.05,100),(-55.25,100),(-55.25,113),(-98.25,113),(-98.25,-281.25)],
  [(-485.2,-285.45),(-485.2,519.95),(-400,519.95),(-400,519.75),(-485,519.75),(-485,-285.25),(-94.25,-285.25),(-94.25,109),(-69.75,109),(-69.75,100),(-69.95,100),(-69.95,108.8),(-94.05,108.8),(-94.05,-285.45)],
  [(-485.5,-285.75),(-485.5,520.25),(-400,520.25),(-400,520.05),(-485.3,520.05),(-485.3,-285.55),(-93.95,-285.55),(-93.95,108.7),(-70.05,108.7),(-70.05,100),(-70.25,100),(-70.25,108.5),(-93.75,108.5),(-93.75,-285.75)],
  [(-489.7,-289.95),(-489.7,559.95),(-400,559.95),(-400,559.75),(-489.5,559.75),(-489.5,-289.75),(-89.75,-289.75),(-89.75,104.5),(-84.75,104.5),(-84.75,100),(-84.95,100),(-84.95,104.3),(-89.55,104.3),(-89.55,-289.95)],
  [(-490,-290.25),(-490,560.25),(-400,560.25),(-400,560.05),(-489.8,560.05),(-489.8,-290.05),(-89.45,-290.05),(-89.45,104.2),(-85.05,104.2),(-85.05,100),(-85.25,100),(-85.25,104),(-89.25,104),(-89.25,-290.25)],
  [(2855,-190),(2855,50.25),(2900,50.25),(2900,50.05),(2855.2,50.05),(2855.2,-189.8),(3175.05,-189.8),(3175.05,204.45),(3404.2,204.45),(3404.2,200.05),(3400,200.05),(3400,200.25),(3404,200.25),(3404,204.25),(3175.25,204.25),(3175.25,-190)],
  [(2855.3,-189.7),(2855.3,49.95),(2900,49.95),(2900,49.75),(2855.5,49.75),(2855.5,-189.5),(3174.75,-189.5),(3174.75,204.75),(3404.5,204.75),(3404.5,199.75),(3400,199.75),(3400,199.95),(3404.3,199.95),(3404.3,204.55),(3174.95,204.55),(3174.95,-189.7)],
  [(2859.5,-185.5),(2859.5,35.25),(2900,35.25),(2900,35.05),(2859.7,35.05),(2859.7,-185.3),(3170.55,-185.3),(3170.55,208.95),(3408.7,208.95),(3408.7,160.05),(3400,160.05),(3400,160.25),(3408.5,160.25),(3408.5,208.75),(3170.75,208.75),(3170.75,-185.5)],
  [(2859.8,-185.2),(2859.8,34.95),(2900,34.95),(2900,34.75),(2860,34.75),(2860,-185),(3170.25,-185),(3170.25,209.25),(3409,209.25),(3409,159.75),(3400,159.75),(3400,159.95),(3408.8,159.95),(3408.8,209.05),(3170.45,209.05),(3170.45,-185.2)],
  [(2864,-181),(2864,20.25),(2900,20.25),(2900,20.05),(2864.2,20.05),(2864.2,-180.8),(3166.05,-180.8),(3166.05,213.45),(3413.2,213.45),(3413.2,120.05),(3400,120.05),(3400,120.25),(3413,120.25),(3413,213.25),(3166.25,213.25),(3166.25,-181)],
  [(2864.3,-180.7),(2864.3,19.95),(2900,19.95),(2900,19.75),(2864.5,19.75),(2864.5,-180.5),(3165.75,-180.5),(3165.75,213.75),(3413.5,213.75),(3413.5,119.75),(3400,119.75),(3400,119.95),(3413.3,119.95),(3413.3,213.55),(3165.95,213.55),(3165.95,-180.7)],
  [(2868.5,-176.5),(2868.5,5.25),(2900,5.25),(2900,5.05),(2868.7,5.05),(2868.7,-176.3),(3161.55,-176.3),(3161.55,217.95),(3417.7,217.95),(3417.7,80.05),(3400,80.05),(3400,80.25),(3417.5,80.25),(3417.5,217.75),(3161.75,217.75),(3161.75,-176.5)],
  [(2868.8,-176.2),(2868.8,4.95),(2900,4.95),(2900,4.75),(2869,4.75),(2869,-176),(3161.25,-176),(3161.25,218.25),(3418,218.25),(3418,79.75),(3400,79.75),(3400,79.95),(3417.8,79.95),(3417.8,218.05),(3161.45,218.05),(3161.45,-176.2)],
  [(2873,-172),(2873,-9.75),(2900,-9.75),(2900,-9.95),(2873.2,-9.95),(2873.2,-171.8),(3157.05,-171.8),(3157.05,222.45),(3422.2,222.45),(3422.2,40.05),(3400,40.05),(3400,40.25),(3422,40.25),(3422,222.25),(3157.25,222.25),(3157.25,-172)],
  [(2873.3,-171.7),(2873.3,-10.05),(2900,-10.05),(2900,-10.25),(2873.5,-10.25),(2873.5,-171.5),(3156.75,-171.5),(3156.75,222.75),(3422.5,222.75),(3422.5,39.75),(3400,39.75),(3400,39.95),(3422.3,39.95),(3422.3,222.55),(3156.95,222.55),(3156.95,-171.7)],
  [(2877.5,-167.5),(2877.5,-24.75),(2900,-24.75),(2900,-24.95),(2877.7,-24.95),(2877.7,-167.3),(3152.55,-167.3),(3152.55,226.95),(3426.7,226.95),(3426.7,0.05),(3400,0.05),(3400,0.25),(3426.5,0.25),(3426.5,226.75),(3152.75,226.75),(3152.75,-167.5)],
  [(2877.8,-167.2),(2877.8,-25.05),(2900,-25.05),(2900,-25.25),(2878,-25.25),(2878,-167),(3152.25,-167),(3152.25,227.25),(3427,227.25),(3427,-0.25),(3400,-0.25),(3400,-0.05),(3426.8,-0.05),(3426.8,227.05),(3152.45,227.05),(3152.45,-167.2)],
  [(2882,-163),(2882,-39.75),(2900,-39.75),(2900,-39.95),(2882.2,-39.95),(2882.2,-162.8),(3148.05,-162.8),(3148.05,231.45),(3431.2,231.45),(3431.2,-39.95),(3400,-39.95),(3400,-39.75),(3431,-39.75),(3431,231.25),(3148.25,231.25),(3148.25,-163)],
  [(2882.3,-162.7),(2882.3,-40.05),(2900,-40.05),(2900,-40.25),(2882.5,-40.25),(2882.5,-162.5),(3147.75,-162.5),(3147.75,231.75),(3431.5,231.75),(3431.5,-40.25),(3400,-40.25),(3400,-40.05),(3431.3,-40.05),(3431.3,231.55),(3147.95,231.55),(3147.95,-162.7)],
  [(2886.5,-158.5),(2886.5,-54.75),(2900,-54.75),(2900,-54.95),(2886.7,-54.95),(2886.7,-158.3),(3143.55,-158.3),(3143.55,235.95),(3435.7,235.95),(3435.7,-79.95),(3400,-79.95),(3400,-79.75),(3435.5,-79.75),(3435.5,235.75),(3143.75,235.75),(3143.75,-158.5)],
  [(2886.8,-158.2),(2886.8,-55.05),(2900,-55.05),(2900,-55.25),(2887,-55.25),(2887,-158),(3143.25,-158),(3143.25,236.25),(3436,236.25),(3436,-80.25),(3400,-80.25),(3400,-80.05),(3435.8,-80.05),(3435.8,236.05),(3143.45,236.05),(3143.45,-158.2)],
  [(2891,-154),(2891,-69.75),(2900,-69.75),(2900,-69.95),(2891.2,-69.95),(2891.2,-153.8),(3139.05,-153.8),(3139.05,240.45),(3440.2,240.45),(3440.2,-119.95),(3400,-119.95),(3400,-119.75),(3440,-119.75),(3440,240.25),(3139.25,240.25),(3139.25,-154)],
  [(2891.3,-153.7),(2891.3,-70.05),(2900,-70.05),(2900,-70.25),(2891.5,-70.25),(2891.5,-153.5),(3138.75,-153.5),(3138.75,240.75),(3440.5,240.75),(3440.5,-120.25),(3400,-120.25),(3400,-120.05),(3440.3,-120.05),(3440.3,240.55),(3138.95,240.55),(3138.95,-153.7)],
  [(3400,-159.95),(3400,-159.75),(3444.5,-159.75),(3444.5,244.75),(3134.75,244.75),(3134.75,-149.5),(2895.5,-149.5),(2895.5,-84.75),(2900,-84.75),(2900,-84.95),(2895.7,-84.95),(2895.7,-149.3),(3134.55,-149.3),(3134.55,244.95),(3444.7,244.95),(3444.7,-159.95)],
  [(3400,-160.25),(3400,-160.05),(3444.8,-160.05),(3444.8,245.05),(3134.45,245.05),(3134.45,-149.2),(2895.8,-149.2),(2895.8,-85.05),(2900,-85.05),(2900,-85.25),(2896,-85.25),(2896,-149),(3134.25,-149),(3134.25,245.25),(3445,245.25),(3445,-160.25)],
  [(3400,-199.95),(3400,-199.75),(3449,-199.75),(3449,249.25),(3130.25,249.25),(3130.25,-145),(2949.75,-145),(2949.75,-100),(2949.95,-100),(2949.95,-144.8),(3130.05,-144.8),(3130.05,249.45),(3449.2,249.45),(3449.2,-199.95)],
  [(3400,-200.25),(3400,-200.05),(3449.3,-200.05),(3449.3,249.55),(3129.95,249.55),(3129.95,-144.7),(2950.05,-144.7),(2950.05,-100),(2950.25,-100),(2950.25,-144.5),(3129.75,-144.5),(3129.75,249.75),(3449.5,249.75),(3449.5,-200.25)],
  [(3400,-239.95),(3400,-239.75),(3453.5,-239.75),(3453.5,253.75),(3125.75,253.75),(3125.75,-140.5),(2964.75,-140.5),(2964.75,-100),(2964.95,-100),(2964.95,-140.3),(3125.55,-140.3),(3125.55,253.95),(3453.7,253.95),(3453.7,-239.95)],
  [(3400,-240.25),(3400,-240.05),(3453.8,-240.05),(3453.8,254.05),(3125.45,254.05),(3125.45,-140.2),(2965.05,-140.2),(2965.05,-100),(2965.25,-100),(2965.25,-140),(3125.25,-140),(3125.25,254.25),(3454,254.25),(3454,-240.25)],
  [(3400,-279.95),(3400,-279.75),(3458,-279.75),(3458,258.25),(3121.25,258.25),(3121.25,-136),(2979.75,-136),(2979.75,-100),(2979.95,-100),(2979.95,-135.8),(3121.05,-135.8),(3121.05,258.45),(3458.2,258.45),(3458.2,-279.95)],
  [(3400,-280.25),(3400,-280.05),(3458.3,-280.05),(3458.3,258.55),(3120.95,258.55),(3120.95,-135.7),(2980.05,-135.7),(2980.05,-100),(2980.25,-100),(2980.25,-135.5),(3120.75,-135.5),(3120.75,258.75),(3458.5,258.75),(3458.5,-280.25)],
  [(3400,-319.95),(3400,-319.75),(3462.5,-319.75),(3462.5,262.75),(3116.75,262.75),(3116.75,-131.5),(2994.75,-131.5),(2994.75,-100),(2994.95,-100),(2994.95,-131.3),(3116.55,-131.3),(3116.55,262.95),(3462.7,262.95),(3462.7,-319.95)],
  [(3400,-320.25),(3400,-320.05),(3462.8,-320.05),(3462.8,263.05),(3116.45,263.05),(3116.45,-131.2),(2995.05,-131.2),(2995.05,-100),(2995.25,-100),(2995.25,-131),(3116.25,-131),(3116.25,263.25),(3463,263.25),(3463,-320.25)],
  [(3400,-359.95),(3400,-359.75),(3467,-359.75),(3467,267.25),(3112.25,267.25),(3112.25,-127),(3009.75,-127),(3009.75,-100),(3009.95,-100),(3009.95,-126.8),(3112.05,-126.8),(3112.05,267.45),(3467.2,267.45),(3467.2,-359.95)],
  [(3400,-360.25),(3400,-360.05),(3467.3,-360.05),(3467.3,267.55),(3111.95,267.55),(3111.95,-126.7),(3010.05,-126.7),(3010.05,-100),(3010.25,-100),(3010.25,-126.5),(3111.75,-126.5),(3111.75,267.75),(3467.5,267.75),(3467.5,-360.25)],
  [(3400,-399.95),(3400,-399.75),(3471.5,-399.75),(3471.5,271.75),(3107.75,271.75),(3107.75,-122.5),(3024.75,-122.5),(3024.75,-100),(3024.95,-100),(3024.95,-122.3),(3107.55,-122.3),(3107.55,271.95),(3471.7,271.95),(3471.7,-399.95)],
  [(3400,-400.25),(3400,-400.05),(3471.8,-400.05),(3471.8,272.05),(3107.45,272.05),(3107.45,-122.2),(3025.05,-122.2),(3025.05,-100),(3025.25,-100),(3025.25,-122),(3107.25,-122),(3107.25,272.25),(3472,272.25),(3472,-400.25)],
  [(3400,-439.95),(3400,-439.75),(3476,-439.75),(3476,276.25),(3103.25,276.25),(3103.25,-118),(3039.75,-118),(3039.75,-100),(3039.95,-100),(3039.95,-117.8),(3103.05,-117.8),(3103.05,276.45),(3476.2,276.45),(3476.2,-439.95)],
  [(3400,-440.25),(3400,-440.05),(3476.3,-440.05),(3476.3,276.55),(3102.95,276.55),(3102.95,-117.7),(3040.05,-117.7),(3040.05,-100),(3040.25,-100),(3040.25,-117.5),(3102.75,-117.5),(3102.75,276.75),(3476.5,276.75),(3476.5,-440.25)],
  [(3400,-479.95),(3400,-479.75),(3480.5,-479.75),(3480.5,280.75),(3098.75,280.75),(3098.75,-113.5),(3054.75,-113.5),(3054.75,-100),(3054.95,-100),(3054.95,-113.3),(3098.55,-113.3),(3098.55,280.95),(3480.7,280.95),(3480.7,-479.95)],
  [(3400,-480.25),(3400,-480.05),(3480.8,-480.05),(3480.8,281.05),(3098.45,281.05),(3098.45,-113.2),(3055.05,-113.2),(3055.05,-100),(3055.25,-100),(3055.25,-113),(3098.25,-113),(3098.25,281.25),(3481,281.25),(3481,-480.25)],
  [(3400,-519.95),(3400,-519.75),(3485,-519.75),(3485,285.25),(3094.25,285.25),(3094.25,-109),(3069.75,-109),(3069.75,-100),(3069.95,-100),(3069.95,-108.8),(3094.05,-108.8),(3094.05,285.45),(3485.2,285.45),(3485.2,-519.95)],
  [(3400,-520.25),(3400,-520.05),(3485.3,-520.05),(3485.3,285.55),(3093.95,285.55),(3093.95,-108.7),(3070.05,-108.7),(3070.05,-100),(3070.25,-100),(3070.25,-108.5),(3093.75,-108.5),(3093.75,285.75),(3485.5,285.75),(3485.5,-520.25)],
  [(3400,-559.95),(3400,-559.75),(3489.5,-559.75),(3489.5,289.75),(3089.75,289.75),(3089.75,-104.5),(3084.75,-104.5),(3084.75,-100),(3084.95,-100),(3084.95,-104.3),(3089.55,-104.3),(3089.55,289.95),(3489.7,289.95),(3489.7,-559.95)],
  [(3400,-560.25),(3400,-560.05),(3489.8,-560.05),(3489.8,290.05),(3089.45,290.05),(3089.45,-104.2),(3085.05,-104.2),(3085.05,-100),(3085.25,-100),(3085.25,-104),(3089.25,-104),(3089.25,290.25),(3490,290.25),(3490,-560.25)])
R(test_smart_routing_start, FLOORPLAN, [(2900,-100,3085,50), (-85,-50,100,100), (2950,2900,3100,3085), (-100,2915,50,3100)])
P(test_smart_routing_start, FLOORPLAN, [(-400,-200),(-400,560),(-400,560),(-400,-200)],
  [(-560,2600),(-560,2600),(200,2600),(200,2600)],
  [(3400,-560),(3400,200),(3400,200),(3400,-560)],
  [(2800,3400),(2800,3400),(3560,3400),(3560,3400)])

lib.write_gds('test_smart_routing_start_bboxFalse_sort_portsFalse_indirectTrue_start_angle0m2False_m1False_zTrue_p1True_p2False.gds')
